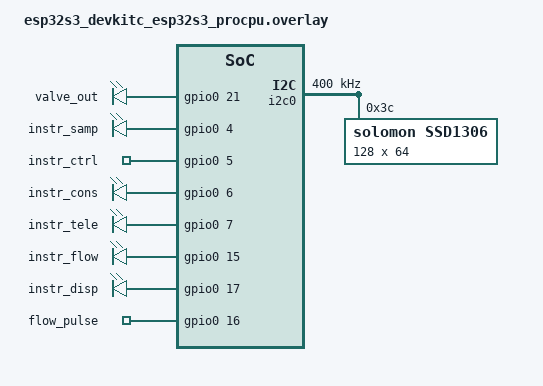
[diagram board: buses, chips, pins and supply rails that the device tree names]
/*
 * ESP32-S3-DevKitC-1 pin map (Lab 3, Task A). Port = this file; the C does not change.
 * Started from nucleo_l476rg.overlay; pins from firmware/superloop/README.md.
 *
 * Instrumentation: GPIO4,5,6,7,15,17 (header J1, consecutive with GPIO16).
 * Valve (led0): GPIO21. Flow input: GPIO16. Console: uart0 on the UART jack.
 */

#include <zephyr/dt-bindings/gpio/gpio.h>
#include <zephyr/dt-bindings/i2c/i2c.h>

/ {
	/* The devkit has no plain LED: the valve gets its own gpio-leds node. */
	aliases {
		led0 = &valve_out;
	};

	leds {
		compatible = "gpio-leds";
		valve_out: valve_out { gpios = <&gpio0 21 GPIO_ACTIVE_HIGH>; };
	};

	instr {
		compatible = "gpio-leds";
		instr_samp: instr_samp { gpios = <&gpio0 4 GPIO_ACTIVE_HIGH>; };
		instr_ctrl: instr_ctrl { gpios = <&gpio0 5 GPIO_ACTIVE_HIGH>; };
		instr_cons: instr_cons { gpios = <&gpio0 6 GPIO_ACTIVE_HIGH>; };
		instr_tele: instr_tele { gpios = <&gpio0 7 GPIO_ACTIVE_HIGH>; };
		instr_flow: instr_flow { gpios = <&gpio0 15 GPIO_ACTIVE_HIGH>; };
		instr_disp: instr_disp { gpios = <&gpio0 17 GPIO_ACTIVE_HIGH>; };
	};

	keys {
		compatible = "gpio-keys";
		flow_pulse: flow_pulse {
			gpios = <&gpio0 16 (GPIO_ACTIVE_HIGH | GPIO_PULL_DOWN)>;
		};
	};
};

/* Optional SSD1306 HMI (only with -DEXTRA_CONF_FILE=display.conf, not used today).
 * The S3 board leaves i2c0 off: SDA GPIO1 / SCL GPIO2. */
&i2c0 {
	status = "okay";
	clock-frequency = <I2C_BITRATE_FAST>;

	ssd1306: ssd1306@3c {
		compatible = "solomon,ssd1306";
		reg = <0x3c>;
		width = <128>;
		height = <64>;
		segment-offset = <0>;
		page-offset = <0>;
		display-offset = <0>;
		multiplex-ratio = <63>;
		prechargep = <0x22>;
		segment-remap;
		com-invdir;
	};
};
